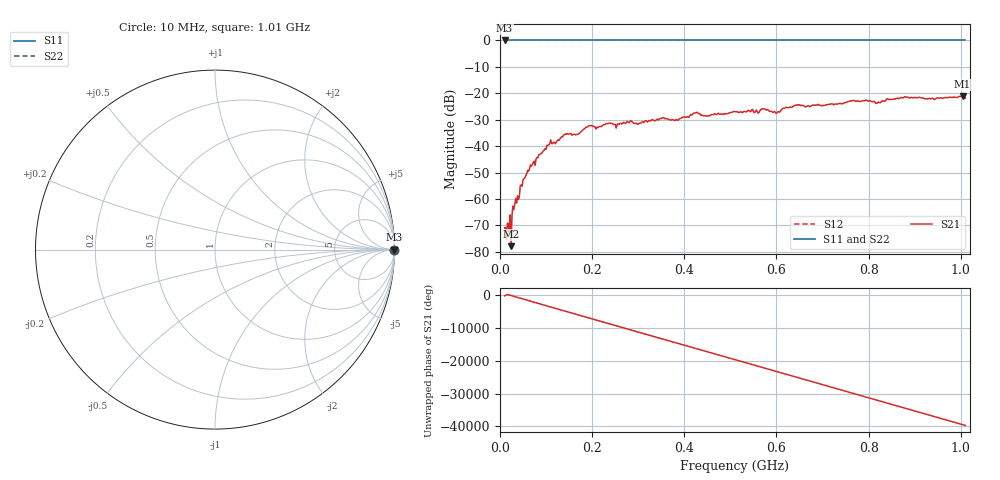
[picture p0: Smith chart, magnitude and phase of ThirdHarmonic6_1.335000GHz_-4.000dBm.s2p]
! 8/16/2025 2:56:43 PM
! C:\ANRITSUVNA\TEMP\TEMP.S2P
! CHANNEL.1
! TR.MEASUREMENT
! RAW.DATA
! RF.CORRECTION.OFF
! AVERAGING.OFF
! IF.BANDWIDTH: 5KHZ
! SWEEPTYPE:  FREQ.SWEEP(Linear)
! Reference Plane Port Info
! PORT:  PORT1  PORT2
! DISTANCE:  0  m  0  m
! TIME:  0  s  0  s
! PHASE.OFFSET:  0  deg.  0  deg.
! LOSS:  0  dB  0  dB
! REF.LOSS:  0  dB  0  dB
! REF.FREQ:  0  Hz  0  Hz
! Power Info
! POWER:  -20  dBm  -20  dBm
! EFF.POWER:  -20  dBm  -20  dBm
! SOURCE.ATTEN:  0  dB  0  dB
! TEST.ATTEN:  0  dB  0  dB
# GHZ S RI R 50.0
! FREQ.GHZ  S11RE  S11IM  S21RE  S21IM  S12RE  S12IM  S22RE  S22IM
!; PortSelection: Port_12
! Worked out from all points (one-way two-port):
!   501 points, 10 MHz to 1.01 GHz, reference 50 ohm
!   highest |S21| = -21.12 dB at 1.004 GHz (marker M1); lowest = -77.9 dB at 24 MHz (marker M2)
!   lowest |S11| = 0.0 dB at 10 MHz (marker M3)
!   |S11| at or under -10 dB: nowhere
!   |S22| runs from 0.0 to 0.0 dB; largest |S21 - S12| = 1.1
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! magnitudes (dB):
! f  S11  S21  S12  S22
! 10 MHz  0.0  -71.0  0.0  0.0
! 20 MHz  0.0  -72.6  0.0  0.0
! 24 MHz  0.0  -77.9  0.0  0.0
! 28 MHz  0.0  -62.7  0.0  0.0
! 30 MHz  0.0  -64.0  0.0  0.0
! 48 MHz  0.0  -55.2  0.0  0.0
! 70 MHz  0.0  -47.0  0.0  0.0
! 106 MHz  0.0  -39.5  0.0  0.0
! 142 MHz  0.0  -35.4  0.0  0.0
! 178 MHz  0.0  -34.1  0.0  0.0
! 196 MHz  0.0  -32.2  0.0  0.0
! 344 MHz  0.0  -30.1  0.0  0.0
! 384 MHz  0.0  -30.0  0.0  0.0
! 424 MHz  0.0  -27.4  0.0  0.0
! 510 MHz  0.0  -26.9  0.0  0.0
! 572 MHz  0.0  -26.0  0.0  0.0
! 602 MHz  0.0  -27.2  0.0  0.0
! 642 MHz  0.0  -24.5  0.0  0.0
! 678 MHz  0.0  -24.5  0.0  0.0
! 844 MHz  0.0  -22.4  0.0  0.0
! 1.004 GHz  0.0  -21.1  0.0  0.0
! 1.01 GHz  0.0  -21.8  0.0  0.0
